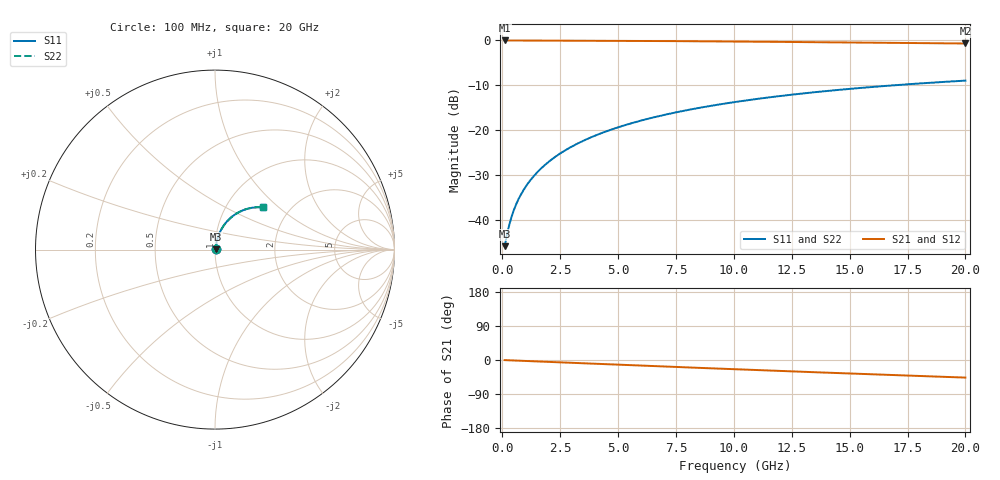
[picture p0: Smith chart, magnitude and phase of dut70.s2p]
! Touchstone file exported from HFSS 2026.1.0
!  File:  C:/ffzhzh/LocalFiles/Ansys_Project_Files/temp_train_BSMRDL_70_1782882859_13352.aedt
!  Generated:  01:15:32 PM Jul  1, 2026
!  Design:  BSMRDL
!  Project:  temp_train_BSMRDL_70_1782882859_13352
! Variables:
!  h_bsmrdl = 2.81um
!  h_ox = 20um
!  h_rdl = 5um
!  h_sub = 80um
!  h_tmrdl = 5um
!  h_tsv = 80um
!  h_via = 3um
!  l_bsmrdl = 723.78um
!  l_sub = 1123.78um
!  l_tmrdl = 200um
!  m_sub = 200um
!  pitch = 39.89um
!  r_tsv = 6um
!  s_tmrdl = 10um
!  w_bsmrdl = 21.71um
!  w_sub = 500um
!  w_tmrdl = 12um
!  x_tsv_center1 = 206um
!  x_tsv_center2 = 951.49um
!  x_tsv_center3 = 1163.49um
!  x_tsv_center4 = 1908.98um
!  x_tsv_center5 = 2120.98um
!  x_tsv_center6 = 2866.47um
# GHz S MA R 50.000000
! Terminal data exported
! Port[1] = BSM_RDL1_1_T1
! Port[2] = BSM_RDL1_1_T2
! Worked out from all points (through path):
!   200 points, 100 MHz to 20 GHz, reference 50 ohm
!   highest |S21| = -0.04 dB at 100 MHz (marker M1); lowest = -0.7 dB at 20 GHz (marker M2)
!   group delay of S21, straight-line fit = 6.45 ps
!   lowest |S11| = -45.9 dB at 100 MHz (marker M3), VSWR 1.01, Z = 50.4 + j0.252 ohm
!   |S11| at or under -10 dB: start of sweep to 16.97 GHz
!   |S22| runs from -45.9 to -9.0 dB; largest |S21 - S12| = 4.1e-15
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0.1  0.005094 29.4  0.9956 -0.3  0.9956 -0.3  0.005094 29.4
! Gamma 0 0 0 0
! Port Impedance 50 0 50 0
0.2  0.006774 46.6  0.9954 -0.5  0.9954 -0.5  0.006774 46.6
0.3  0.008765 55.7  0.9951 -0.8  0.9951 -0.8  0.008765 55.7
0.4  0.01082 61.1  0.9949 -1.0  0.9949 -1.0  0.01082 61.1
0.5  0.01288 64.6  0.9947 -1.3  0.9947 -1.3  0.01288 64.6
0.6  0.01493 67.2  0.9945 -1.5  0.9945 -1.5  0.01493 67.2
0.8  0.01904 70.7  0.9942 -2.0  0.9942 -2.0  0.01904 70.7
1.1  0.02527 73.8  0.9938 -2.8  0.9938 -2.8  0.02527 73.8
1.3  0.02945 75.0  0.9936 -3.3  0.9936 -3.3  0.02945 75.0
1.6  0.03577 76.2  0.9933 -4.0  0.9933 -4.0  0.03578 76.2
2.1  0.04637 77.0  0.9927 -5.2  0.9927 -5.2  0.04638 77.0
2.7  0.05912 77.0  0.9918 -6.7  0.9918 -6.7  0.05912 77.0
3.5  0.07605 76.2  0.9904 -8.7  0.9904 -8.7  0.07605 76.2
4.2  0.09074 75.1  0.9888 -10.4  0.9888 -10.4  0.09074 75.1
5  0.1073 73.7  0.9868 -12.3  0.9868 -12.3  0.1073 73.7
5.9  0.1257 71.9  0.9841 -14.5  0.9841 -14.5  0.1257 71.8
6.8  0.1437 70.0  0.9812 -16.7  0.9812 -16.7  0.1437 69.9
8.3  0.1729 66.7  0.9757 -20.3  0.9757 -20.3  0.1729 66.6
10.1  0.2063 62.7  0.9682 -24.5  0.9682 -24.5  0.2063 62.6
13.4  0.2626 55.4  0.9531 -32.0  0.9531 -32.0  0.2626 55.4
16.7  0.3124 48.4  0.937 -39.3  0.937 -39.3  0.3124 48.3
20  0.3554 41.5  0.921 -46.4  0.921 -46.4  0.3554 41.5
